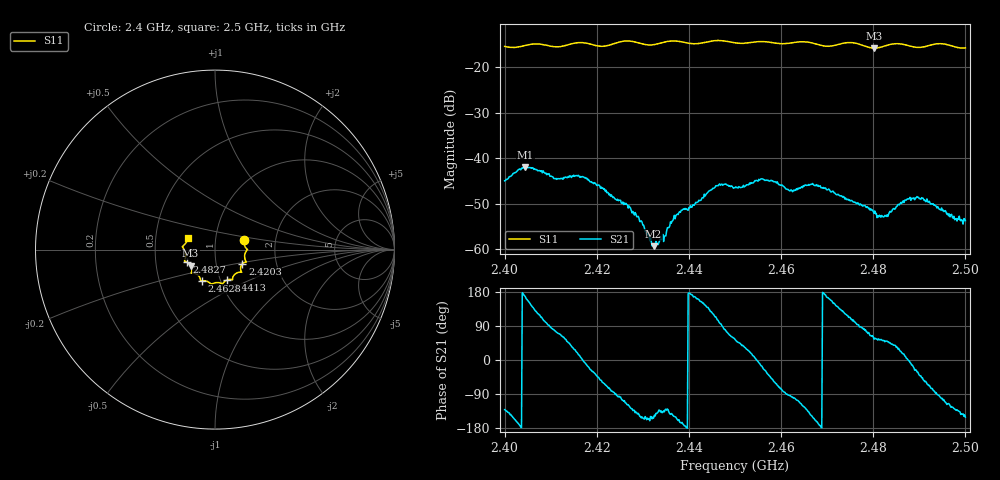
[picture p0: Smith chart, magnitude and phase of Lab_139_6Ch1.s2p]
# Hz S RI R 50
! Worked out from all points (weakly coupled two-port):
!   601 points, 2.4 GHz to 2.5 GHz, reference 50 ohm
!   highest |S21| = -41.86 dB at 2.4045 GHz (marker M1); lowest = -59.3 dB at 2.4323 GHz (marker M2)
!   lowest |S11| = -15.8 dB at 2.4802 GHz (marker M3), VSWR 1.39, Z = 37.5 - j6.91 ohm
!   |S11| at or under -10 dB: start of sweep to end of sweep
!   S12 and S22 are empty: the file has one direction only
!   S11 on the Smith chart (normalised r, x): 2.4 GHz: 1.38, +0.15; 2.4203 GHz: 1.34, -0.22; 2.4413 GHz: 1.07, -0.38; 2.4628 GHz: 0.82, -0.29; 2.4827 GHz: 0.72, -0.10; 2.5 GHz: 0.73, +0.10
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2.4e9  0.1617 0.0527  -0.00372 -0.00428  0 0  0 0
2.4045e9  0.1743 0.00615  -0.00787 0.00182  0 0  0 0
2.411167e9  0.166 -0.0272  0.00164 0.00579  0 0  0 0
2.416667e9  0.1741 -0.0691  0.00621 0.000536  0 0  0 0
2.420333e9  0.1526 -0.0793  0.00356 -0.00363  0 0  0 0
2.426833e9  0.1487 -0.1264  -0.00133 -0.00251  0 0  0 0
2.432333e9  0.1054 -0.143  -0.00097 -0.000484  0 0  0 0
2.433333e9  0.1001 -0.152  -0.000825 -0.000774  0 0  0 0
2.437333e9  0.0971 -0.1686  -0.00217 -0.00103  0 0  0 0
2.441333e9  0.0668 -0.1693  -0.00309 0.000748  0 0  0 0
2.446167e9  0.0424 -0.1931  -0.00137 0.00483  0 0  0 0
2.45e9  0.0244 -0.1847  0.00277 0.00387  0 0  0 0
2.455667e9  -0.0187 -0.1914  0.00575 -0.00157  0 0  0 0
2.462833e9  -0.0718 -0.1738  -0.000762 -0.00435  0 0  0 0
2.466667e9  -0.0808 -0.1676  -0.00437 -0.00279  0 0  0 0
2.480167e9  -0.136 -0.0897  0.00144 0.00203  0 0  0 0
2.482667e9  -0.158 -0.0704  0.00151 0.0018  0 0  0 0
2.483333e9  -0.1632 -0.0683  0.00163 0.0018  0 0  0 0
2.487e9  -0.1676 -0.0567  0.00344 0.000575  0 0  0 0
2.489667e9  -0.1637 -0.0262  0.00316 -0.00196  0 0  0 0
2.4945e9  -0.1816 0.0164  -0.000356 -0.00272  0 0  0 0
2.5e9  -0.1511 0.0644  -0.0018 -0.000999  0 0  0 0
